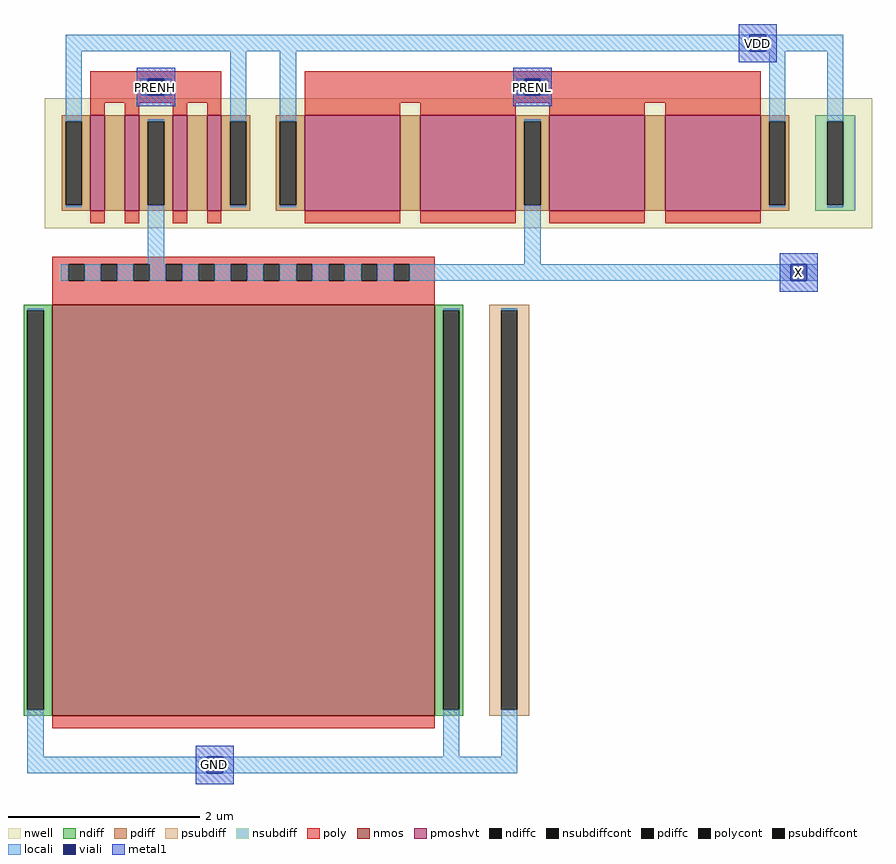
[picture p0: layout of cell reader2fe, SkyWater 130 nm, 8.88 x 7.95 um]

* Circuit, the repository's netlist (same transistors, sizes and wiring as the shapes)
* NGSPICE file created from reader2fe.ext - technology: sky130A

.subckt reader2fe PRENH PRENL X VDD GND
X0 VDD PRENL a_1300_1056# VDD sky130_fd_pr__pfet_01v8_hvt ad=0.3 pd=2.6 as=0.105 ps=1.21 w=1 l=1
X1 X PRENL a_788_1056# VDD sky130_fd_pr__pfet_01v8_hvt ad=0.175 pd=1.35 as=0.105 ps=1.21 w=1 l=1
X2 GND X GND GND sky130_fd_pr__nfet_01v8 ad=1.29 pd=9.2 as=2.58 ps=18.4 w=4.3 l=4
X3 a_1300_1056# PRENL X VDD sky130_fd_pr__pfet_01v8_hvt ad=0.105 pd=1.21 as=0.175 ps=1.35 w=1 l=1
X4 a_788_1056# PRENL VDD VDD sky130_fd_pr__pfet_01v8_hvt ad=0.105 pd=1.21 as=0.3 ps=2.6 w=1 l=1
X5 a_342_1056# PRENH X VDD sky130_fd_pr__pfet_01v8_hvt ad=0.105 pd=1.21 as=0.175 ps=1.35 w=1 l=0.15
X6 a_170_1056# PRENH VDD VDD sky130_fd_pr__pfet_01v8_hvt ad=0.105 pd=1.21 as=0.3 ps=2.6 w=1 l=0.15
X7 X PRENH a_170_1056# VDD sky130_fd_pr__pfet_01v8_hvt ad=0.175 pd=1.35 as=0.105 ps=1.21 w=1 l=0.15
X8 VDD PRENH a_342_1056# VDD sky130_fd_pr__pfet_01v8_hvt ad=0.3 pd=2.6 as=0.105 ps=1.21 w=1 l=0.15
.ends

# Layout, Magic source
magic
tech sky130A
magscale 1 2
<< nwell >>
rect 44 1020 1776 1292
<< nmos >>
rect 60 0 860 860
<< pmoshvt >>
rect 140 1056 170 1256
rect 212 1056 242 1256
rect 312 1056 342 1256
rect 384 1056 414 1256
rect 588 1056 788 1256
rect 830 1056 1030 1256
rect 1100 1056 1300 1256
rect 1342 1056 1542 1256
<< ndiff >>
rect 0 848 60 860
rect 0 12 8 848
rect 42 12 60 848
rect 0 0 60 12
rect 860 848 920 860
rect 860 12 878 848
rect 912 12 920 848
rect 860 0 920 12
<< pdiff >>
rect 80 1244 140 1256
rect 80 1068 88 1244
rect 122 1068 140 1244
rect 80 1056 140 1068
rect 170 1056 212 1256
rect 242 1244 312 1256
rect 242 1068 260 1244
rect 294 1068 312 1244
rect 242 1056 312 1068
rect 342 1056 384 1256
rect 414 1244 474 1256
rect 414 1068 432 1244
rect 466 1068 474 1244
rect 414 1056 474 1068
rect 528 1244 588 1256
rect 528 1068 536 1244
rect 570 1068 588 1244
rect 528 1056 588 1068
rect 788 1056 830 1256
rect 1030 1244 1100 1256
rect 1030 1068 1048 1244
rect 1082 1068 1100 1244
rect 1030 1056 1100 1068
rect 1300 1056 1342 1256
rect 1542 1244 1602 1256
rect 1542 1068 1560 1244
rect 1594 1068 1602 1244
rect 1542 1056 1602 1068
<< ndiffc >>
rect 8 12 42 848
rect 878 12 912 848
<< pdiffc >>
rect 88 1068 122 1244
rect 260 1068 294 1244
rect 432 1068 466 1244
rect 536 1068 570 1244
rect 1048 1068 1082 1244
rect 1560 1068 1594 1244
<< psubdiff >>
rect 974 848 1058 860
rect 974 12 999 848
rect 1033 12 1058 848
rect 974 0 1058 12
<< nsubdiff >>
rect 1656 1244 1740 1256
rect 1656 1068 1681 1244
rect 1715 1068 1740 1244
rect 1656 1056 1740 1068
<< psubdiffcont >>
rect 999 12 1033 848
<< nsubdiffcont >>
rect 1681 1068 1715 1244
<< poly >>
rect 140 1332 414 1348
rect 140 1298 260 1332
rect 294 1298 414 1332
rect 140 1282 414 1298
rect 140 1256 170 1282
rect 212 1256 242 1282
rect 312 1256 342 1282
rect 384 1256 414 1282
rect 588 1332 1542 1348
rect 588 1298 1048 1332
rect 1082 1298 1542 1332
rect 588 1282 1542 1298
rect 588 1256 788 1282
rect 830 1256 1030 1282
rect 1100 1256 1300 1282
rect 1342 1256 1542 1282
rect 140 1030 170 1056
rect 212 1030 242 1056
rect 312 1030 342 1056
rect 384 1030 414 1056
rect 588 1030 788 1056
rect 830 1030 1030 1056
rect 1100 1030 1300 1056
rect 1342 1030 1542 1056
rect 60 944 860 960
rect 60 910 94 944
rect 128 910 162 944
rect 196 910 230 944
rect 264 910 298 944
rect 332 910 366 944
rect 400 910 434 944
rect 468 910 502 944
rect 536 910 570 944
rect 604 910 638 944
rect 672 910 706 944
rect 740 910 774 944
rect 808 910 860 944
rect 60 860 860 910
rect 60 -26 860 0
<< polycont >>
rect 260 1298 294 1332
rect 1048 1298 1082 1332
rect 94 910 128 944
rect 162 910 196 944
rect 230 910 264 944
rect 298 910 332 944
rect 366 910 400 944
rect 434 910 468 944
rect 502 910 536 944
rect 570 910 604 944
rect 638 910 672 944
rect 706 910 740 944
rect 774 910 808 944
<< locali >>
rect 88 1390 1519 1424
rect 1553 1390 1715 1424
rect 88 1244 122 1390
rect 244 1298 260 1332
rect 294 1298 310 1332
rect 88 1064 122 1068
rect 260 1244 294 1248
rect 260 944 294 1068
rect 432 1244 466 1390
rect 432 1064 466 1068
rect 536 1244 570 1390
rect 1032 1298 1048 1332
rect 1082 1298 1098 1332
rect 536 1064 570 1068
rect 1048 1244 1082 1248
rect 1048 944 1082 1068
rect 1560 1244 1594 1390
rect 1560 1064 1594 1068
rect 1681 1244 1715 1390
rect 1681 1064 1715 1068
rect 78 910 94 944
rect 128 910 162 944
rect 196 910 230 944
rect 264 910 298 944
rect 332 910 366 944
rect 400 910 434 944
rect 468 910 502 944
rect 536 910 570 944
rect 604 910 638 944
rect 672 910 706 944
rect 740 910 774 944
rect 808 910 1605 944
rect 1639 910 1662 944
rect 8 848 42 852
rect 8 -86 42 12
rect 878 848 912 852
rect 878 -86 912 12
rect 999 848 1033 852
rect 999 -86 1033 12
rect 8 -120 383 -86
rect 417 -120 1033 -86
<< viali >>
rect 1519 1390 1553 1424
rect 260 1298 294 1332
rect 1048 1298 1082 1332
rect 1605 910 1639 944
rect 383 -120 417 -86
<< metal1 >>
rect 1496 1424 1576 1447
rect 1496 1390 1519 1424
rect 1553 1390 1576 1424
rect 1496 1367 1576 1390
rect 237 1332 317 1355
rect 237 1298 260 1332
rect 294 1298 317 1332
rect 237 1275 317 1298
rect 1025 1332 1105 1355
rect 1025 1298 1048 1332
rect 1082 1298 1105 1332
rect 1025 1275 1105 1298
rect 1582 944 1662 967
rect 1582 910 1605 944
rect 1639 910 1662 944
rect 1582 887 1662 910
rect 360 -86 440 -63
rect 360 -120 383 -86
rect 417 -120 440 -86
rect 360 -143 440 -120
<< labels >>
flabel metal1 237 1275 317 1355 0 FreeSans 320 0 0 0 PRENH
port 1 nsew
flabel metal1 1025 1275 1105 1355 0 FreeSans 320 0 0 0 PRENL
port 2 nsew
flabel metal1 1582 887 1662 967 0 FreeSans 320 0 0 0 X
port 3 nsew
flabel metal1 1496 1367 1576 1447 0 FreeSans 320 0 0 0 VDD
port 4 nsew
flabel metal1 360 -143 440 -63 0 FreeSans 320 0 0 0 GND
port 5 nsew
<< end >>
